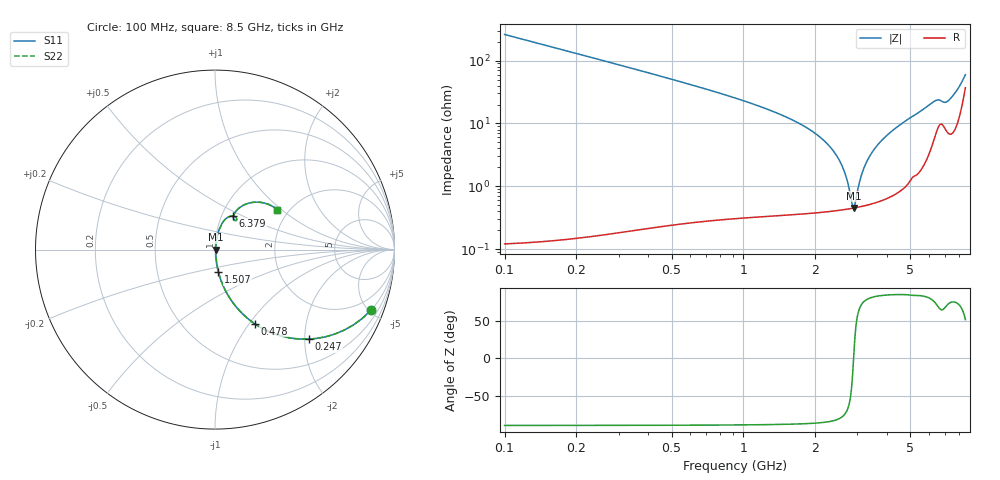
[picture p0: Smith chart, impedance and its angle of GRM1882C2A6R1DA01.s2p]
!Murata Part Number: GRM1882C2A6R1DA01
!These Parameters are Measured in Series Mode Connection
!Data Generated on Mar 30, 2021
!  o--ll--o
!Port1  Port2
!  o------o
!Operation Temp=25[degC], DC Bias Voltage=0[V]
!Freq. Start=100[MHz] Stop=9[GHz] 401[Steps]
# Hz S RI R 50
!Freq.(Hz) S11(Real) S11(Imag) S21(Real) S21(Imag) S12(Real) S12(Imag) S22(Real) S22(Imag)
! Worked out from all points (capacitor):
!   401 points, 100 MHz to 8.5 GHz, reference 50 ohm
!   read as one part in series: C = 6.1 pF near 142 MHz
!   lowest |Z| = 450 mohm at 2.893 GHz (marker M1)
!   series resonance near 2.893 GHz, so ESL is about 500 pH
!   S11 on the Smith chart (normalised r, x): 100 MHz: 1.00, -5.21; 247 MHz: 1.00, -2.10; 478 MHz: 1.00, -1.06; 1.507 GHz: 1.01, -0.25; 6.379 GHz: 1.13, +0.44; 8.5 GHz: 1.74, +0.94
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1e8  0.8715 -0.3344  0.1285 0.3344  0.1285 0.3344  0.8715 -0.3344
2.47e8  0.5234 -0.4987  0.4766 0.4987  0.4766 0.4987  0.5234 -0.4987
3.52e8  0.3478 -0.4749  0.6522 0.4749  0.6522 0.4749  0.3478 -0.4749
4.78e8  0.2206 -0.4124  0.7794 0.4124  0.7794 0.4124  0.2206 -0.4124
8.35e8  0.0782 -0.2633  0.9218 0.2633  0.9218 0.2633  0.0782 -0.2633
1.507e9  0.0192 -0.1242  0.9808 0.1242  0.9808 0.1242  0.0192 -0.1242
2.074e9  0.00761 -0.0615  0.9924 0.0615  0.9924 0.0615  0.00761 -0.0615
2.431e9  0.00509 -0.0321  0.9949 0.0321  0.9949 0.0321  0.00509 -0.0321
2.662e9  0.00449 -0.0154  0.9955 0.0154  0.9955 0.0154  0.00449 -0.0154
2.746e9  0.00442 -0.00966  0.9956 0.00966  0.9956 0.00966  0.00442 -0.00966
2.851e9  0.00444 -0.00273  0.9956 0.00273  0.9956 0.00273  0.00444 -0.00273
2.893e9  0.00448 -1.25e-05  0.9955 1.25e-05  0.9955 1.25e-05  0.00448 -1.25e-05
2.914e9  0.00451 0.00133  0.9955 -0.00133  0.9955 -0.00133  0.00451 0.00133
3.124e9  0.00496 0.0144  0.995 -0.0144  0.995 -0.0144  0.00496 0.0144
3.355e9  0.00586 0.0281  0.9941 -0.0281  0.9941 -0.0281  0.00586 0.0281
3.733e9  0.0082 0.0493  0.9918 -0.0493  0.9918 -0.0493  0.0082 0.0493
4.3e9  0.0138 0.0801  0.9862 -0.0801  0.9862 -0.0801  0.0138 0.0801
5.707e9  0.0479 0.1587  0.9521 -0.1587  0.9521 -0.1587  0.0479 0.1587
6.379e9  0.1014 0.1868  0.8986 -0.1868  0.8986 -0.1868  0.1014 0.1868
7.114e9  0.1029 0.175  0.8971 -0.175  0.8971 -0.175  0.1029 0.175
7.828e9  0.1595 0.2478  0.8405 -0.2478  0.8405 -0.2478  0.1595 0.2478
8.5e9  0.3469 0.2229  0.6531 -0.2229  0.6531 -0.2229  0.3469 0.2229
